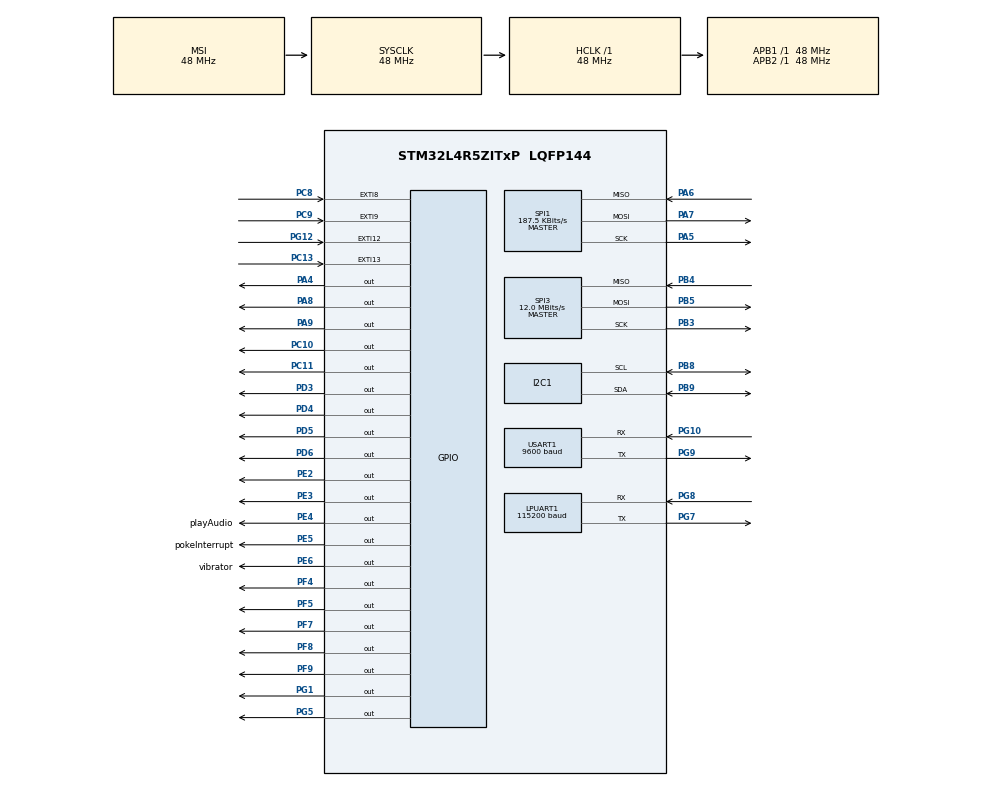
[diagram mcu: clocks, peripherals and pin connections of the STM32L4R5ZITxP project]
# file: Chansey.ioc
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I2C1.Timing=0x10805D88
LPUART1.BaudRate=115200
LPUART1.WordLength=UART_WORDLENGTH_8B
Mcu.Family=STM32L4
Mcu.Name=STM32L4R5ZITxP
Mcu.Package=LQFP144
NVIC.EXTI15_10_IRQn=true\:2\:0\:true\:false\:true\:true\:true\:true
NVIC.EXTI9_5_IRQn=true\:0\:0\:true\:false\:true\:true\:true\:true
NVIC.PriorityGroup=NVIC_PRIORITYGROUP_4
NVIC.TIM4_IRQn=true\:1\:0\:true\:false\:true\:true\:true\:true
PA0.Signal=S_TIM2_CH1
PA1.Signal=ADCx_IN6
PA13\ (JTMS/SWDIO).Signal=SYS_JTMS-SWDIO
PA14\ (JTCK/SWCLK).Signal=SYS_JTCK-SWCLK
PA3.Signal=ADCx_IN8
PA4.Signal=GPIO_Output
PA5.Mode=Full_Duplex_Master
PA5.Signal=SPI1_SCK
PA6.Mode=Full_Duplex_Master
PA6.Signal=SPI1_MISO
PA7.Mode=Full_Duplex_Master
PA7.Signal=SPI1_MOSI
PA8.Signal=GPIO_Output
PA9.Signal=GPIO_Output
PB0.Signal=S_TIM3_CH3
PB1.Signal=ADCx_IN16
PB10.Signal=S_TIM2_CH3
PB12.Signal=SAI2_FS_A
PB13.Signal=SAI2_SCK_A
PB14.Signal=S_TIM15_CH1
PB15.Signal=SAI2_SD_A
PB2.Signal=COMP1_INP
PB3\ (JTDO/TRACESWO).Mode=Full_Duplex_Master
PB3\ (JTDO/TRACESWO).Signal=SPI3_SCK
PB4\ (NJTRST).Mode=Full_Duplex_Master
PB4\ (NJTRST).Signal=SPI3_MISO
PB5.Mode=Full_Duplex_Master
PB5.Signal=SPI3_MOSI
PB6.Signal=COMP2_INP
PB8.Mode=I2C
PB8.Signal=I2C1_SCL
PB9.Mode=I2C
PB9.Signal=I2C1_SDA
PC0.Signal=ADCx_IN1
PC1.Signal=ADCx_IN2
PC10.Signal=GPIO_Output
PC11.Signal=GPIO_Output
PC13.Signal=GPXTI13
PC14-OSC32_IN\ (PC14).Signal=RCC_OSC32_IN
PC15-OSC32_OUT\ (PC15).Signal=RCC_OSC32_OUT
PC2.Signal=ADCx_IN3
PC3.Signal=ADCx_IN4
PC4.Signal=ADCx_IN13
PC5.Signal=ADCx_IN14
PC6.Signal=SAI2_MCLK_A
PC7.Signal=S_TIM3_CH2
PC8.GPIO_PuPd=GPIO_PULLDOWN
PC8.Signal=GPXTI8
PC9.GPIO_PuPd=GPIO_PULLDOWN
PC9.Signal=GPXTI9
PD0.Signal=CAN1_RX
PD14.Signal=S_TIM4_CH3
PD15.Signal=S_TIM4_CH4
PD2.Signal=SDMMC1_CMD
PD3.Signal=GPIO_Output
PD4.Signal=GPIO_Output
PD5.Signal=GPIO_Output
PD6.Signal=GPIO_Output
PD8.Signal=USART3_TX
PD9.Signal=USART3_RX
PE0.Signal=S_TIM4_ETR
PE10.Signal=TIM1_CH2N
PE11.Signal=S_TIM1_CH2
PE12.Signal=TIM1_CH3N
PE13.Signal=S_TIM1_CH3
PE14.Signal=TIM1_BKIN2
PE15.Signal=TIM1_BKIN
PE2.Signal=GPIO_Output
PE3.Signal=GPIO_Output
PE4.GPIO_Label=playAudio
PE4.Signal=GPIO_Output
PE5.GPIO_Label=pokeInterrupt
PE5.Signal=GPIO_Output
PE6.GPIO_Label=vibrator
PE6.Signal=GPIO_Output
PE7.Signal=S_TIM1_ETR
PE8.Signal=TIM1_CH1N
PE9.Signal=S_TIM1_CH1
PF0.Signal=I2C2_SDA
PF1.Signal=I2C2_SCL
PF2.Signal=I2C2_SMBA
PF4.Signal=GPIO_Output
PF5.Signal=GPIO_Output
PF7.Signal=GPIO_Output
PF8.Signal=GPIO_Output
PF9.Signal=GPIO_Output
PG1.Signal=GPIO_Output
PG10.Mode=Asynchronous
PG10.Signal=USART1_RX
PG12.Signal=GPXTI12
PG5.Signal=GPIO_Output
PG7.Mode=Asynchronous
PG7.Signal=LPUART1_TX
PG8.Mode=Asynchronous
PG8.Signal=LPUART1_RX
PG9.Mode=Asynchronous
PG9.Signal=USART1_TX
PH0-OSC_IN\ (PH0).Signal=RCC_OSC_IN
PH1-OSC_OUT\ (PH1).Signal=RCC_OSC_OUT
ProjectManager.HeapSize=0x200
ProjectManager.StackSize=0x400
ProjectManager.TargetToolchain=STM32CubeIDE
RCC.ADCFreq_Value=192000000
RCC.AHBFreq_Value=48000000
RCC.APB1Freq_Value=48000000
RCC.APB1TimFreq_Value=48000000
RCC.APB2Freq_Value=48000000
RCC.APB2TimFreq_Value=48000000
RCC.CortexFreq_Value=48000000
RCC.HCLKFreq_Value=48000000
RCC.HSE_VALUE=8000000
RCC.HSI48_VALUE=48000000
RCC.HSI_VALUE=16000000
RCC.LSE_VALUE=32768
RCC.MSIClockRange=RCC_MSIRANGE_11
RCC.MSI_VALUE=48000000
RCC.SYSCLKFreq_VALUE=48000000
RCC.USBFreq_Value=192000000
RCC.VCOOutputFreq_Value=384000000
SH.ADCx_IN1.0=ADC1_IN1
SH.ADCx_IN13.0=ADC1_IN13
SH.ADCx_IN14.0=ADC1_IN14
SH.ADCx_IN16.0=ADC1_IN16
SH.ADCx_IN2.0=ADC1_IN2
SH.ADCx_IN3.0=ADC1_IN3
SH.ADCx_IN4.0=ADC1_IN4
SH.ADCx_IN6.0=ADC1_IN6
SH.ADCx_IN8.0=ADC1_IN8
SH.S_TIM15_CH1.0=TIM15_CH1
SH.S_TIM1_CH1.0=TIM1_CH1
SH.S_TIM1_CH2.0=TIM1_CH2
SH.S_TIM1_CH3.0=TIM1_CH3
SH.S_TIM1_ETR.0=TIM1_ETR
SH.S_TIM2_CH1.0=TIM2_CH1
SH.S_TIM2_CH3.0=TIM2_CH3
SH.S_TIM3_CH2.0=TIM3_CH2
SH.S_TIM3_CH3.0=TIM3_CH3
SH.S_TIM4_CH3.0=TIM4_CH3
SH.S_TIM4_CH4.0=TIM4_CH4
SH.S_TIM4_ETR.0=TIM4_ETR
SPI1.BaudRatePrescaler=SPI_BAUDRATEPRESCALER_256
SPI1.CalculateBaudRate=187.5 KBits/s
SPI1.DataSize=SPI_DATASIZE_8BIT
SPI1.Direction=SPI_DIRECTION_2LINES
SPI1.Mode=SPI_MODE_MASTER
SPI1.VirtualType=VM_MASTER
SPI3.BaudRatePrescaler=SPI_BAUDRATEPRESCALER_4
SPI3.CalculateBaudRate=12.0 MBits/s
SPI3.DataSize=SPI_DATASIZE_8BIT
SPI3.Direction=SPI_DIRECTION_2LINES
SPI3.Mode=SPI_MODE_MASTER
SPI3.VirtualType=VM_MASTER
TIM4.Period=999
TIM4.Prescaler=47999
USART1.BaudRate=9600
USART1.VirtualMode-Asynchronous=VM_ASYNC
VP_TIM4_VS_ClockSourceINT.Mode=Internal
board=NUCLEO-L4R5ZI-P

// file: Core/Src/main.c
/* USER CODE BEGIN Header */
/**
  ******************************************************************************
  * @file           : main.c
  * @brief          : Main program body
  ******************************************************************************
  * @attention
  *
  * Copyright (c) 2025 STMicroelectronics.
  * All rights reserved.
  *
  * This software is licensed under terms that can be found in the LICENSE file
  * in the root directory of this software component.
  * If no LICENSE file comes with this software, it is provided AS-IS.
  *
  ******************************************************************************
  */
/* USER CODE END Header */
#include "main.h"

/* USER CODE BEGIN Includes */
#include "bodytemp.h"
#include "max30105.h"
#include "heart_rate_reader.h"
#include "heartRate.h"
#include "distance.h"
#include "rfid.h"
#include "temp_humid.h"
#include "stdio.h"
#include "motors.h"
#include "communicate.h"
#include "string.h"
#include "../../Drivers/VL53L0X/core/inc/vl53l0x_api.h"
#include "display.h"

/* USER CODE END Includes */

I2C_HandleTypeDef hi2c1;

UART_HandleTypeDef hlpuart1;
UART_HandleTypeDef huart1;

SPI_HandleTypeDef hspi1;
SPI_HandleTypeDef hspi3;

TIM_HandleTypeDef htim4;

/* USER CODE BEGIN PV */
enum States {
	IDLE,
	SCAN,
	HEART,
	TEMP,
	RESULT,
	PILLS,
	DONE
};

enum Users {
	DEFAULT,
	ABRAHAM, //1
	ALEC,    //2
	ANNA,    //3
	AVA,     //4
	JAMES,   //5
	JOHN,    //6
	JOSEPH,  //7
	JUNYI,   //8
	KRIS,    //9
	MATT,    //10
	NATALIE  //11
};

const char* UsersArr[] = {
    "",
	"ABRAHAM", //1
	"ALEC",    //2
	"ANNA",    //3
	"AVA",     //4
	"JAMES",   //5
	"JOHN",    //6
	"JOSEPH",  //7
	"JUNYI",   //8
	"KRIS",    //9
	"MATT",    //10
	"NATALIE"  //11
};

VL53L0X_RangingMeasurementData_t RangingData;
VL53L0X_Dev_t vl53l0x_c;
VL53L0X_DEV Dev = &vl53l0x_c;
volatile uint8_t restock = 0;

/* USER CODE END PV */

void SystemClock_Config(void);
static void MX_GPIO_Init(void);
static void MX_I2C1_Init(void);
static void MX_LPUART1_UART_Init(void);
static void MX_USART1_UART_Init(void);
static void MX_SPI1_Init(void);
static void MX_SPI3_Init(void);
static void MX_TIM4_Init(void);

/* USER CODE BEGIN 0 */
volatile uint16_t hour = 6;
volatile uint16_t minute = 9;
volatile uint8_t second = 0;
volatile uint32_t last_minute_press = 0;
volatile uint32_t last_hour_press = 0;
char timeStr[16];

float old_buffer[2] = {00.00,00.00};

/* USER CODE END 0 */

int main(void)
{

  /* MCU Configuration--------------------------------------------------------*/

  /* Reset of all peripherals, Initializes the Flash interface and the Systick. */
  HAL_Init();

  /* Configure the system clock */
  SystemClock_Config();

  /* Initialize all configured peripherals */
  MX_GPIO_Init();
  MX_I2C1_Init();
  MX_LPUART1_UART_Init();
  MX_USART1_UART_Init();
  MX_SPI1_Init();
  MX_SPI3_Init();
  MX_TIM4_Init();
  /* USER CODE BEGIN 2 */

  //Start timer
  HAL_TIM_Base_Start_IT(&htim4);

  enum States Chansey = IDLE;
  //IDLE STATE VARIABLES
  float buffer[2] = {0};
  uint8_t RFID_bool = 0;
  uint8_t distance_bool = 0;
  uint8_t counter = 0; //to not read temperature every single time we perform loop

  //RFID VARIABLES
  uint8_t str[MAX_LEN] = {0};
  uint8_t serNum[5] = {0};
  uint8_t R[16] = {0};
  uint8_t TrainerNum = DEFAULT;

  //HEART VARIABLES
   int heart_rate;

  //BODY TEMPERATURE VARIABLES
  float body_temperature;

  //PILL VARIABLES
  uint8_t pill_dispensed;

  // COMMUNICATION VARIABLES
	int sent = 0;

  //DISTANCE SENSOR VARIABLES
	uint32_t refSpadCount;
	uint8_t isApertureSpads;
	uint8_t VhvSettings;
	uint8_t PhaseCal;
	  Dev->I2cHandle = &hi2c1;
	  Dev->I2cDevAddr = 0x52;

	  // INITIALIZE DISPLAY
	  HAL_GPIO_WritePin(GPIOF, GPIO_PIN_4, GPIO_PIN_SET); // CS HIGH
	  DisplayBegin();
	  FillScreen(0xFFFF);
	  DrawChanseyCorner();

	  // INITIALIZE HR
	  heart_rate_init(); // ** may have to do everytime heart is called

	  // DISPLAY VARIABLES
	  char* Msg ;
	  char* rfidName;

	  uint32_t timeOut;  // time in ms since startup
	  uint8_t  scanBool = 0;
	  uint8_t  heartBool = 0;
	  uint8_t  tempBool = 0;
	  HAL_GPIO_WritePin(GPIOE, GPIO_PIN_5, 0);
	  HAL_GPIO_WritePin(GPIOE, GPIO_PIN_4, 0);
	  HAL_GPIO_WritePin(GPIOE, GPIO_PIN_6, 0);

  /* USER CODE END 2 */

  /* Infinite loop */
  /* USER CODE BEGIN WHILE */
	  //Chansey = TEMP;
  while (1)
  {
    /* USER CODE END WHILE */

    /* USER CODE BEGIN 3 */
	  	 HAL_Delay(10);
	  	HAL_GPIO_WritePin(GPIOE, GPIO_PIN_5, 0);

	  	 printf("Chansey State: %d\r\n", Chansey);
	  	printf("Time: %02u:%02u:%02u\r\n", hour, minute, second);

	  	//sprintf(timeStr, "%02u:%02u:%02u", hour, minute, second);
		if (hour > 12) {
			//pm
			sprintf(timeStr, "%02u:%02u PM", hour-12, minute);
		}
		else {
			// am
			sprintf(timeStr, "%02u:%02u AM", hour, minute);

		}

		TimeCornerText(timeStr);

		 switch(Chansey) {
		 	 case IDLE:
		 		//turn off the speaker
		 	  	HAL_GPIO_WritePin(GPIOE, GPIO_PIN_4, 0);
		 	  	HAL_GPIO_WritePin(GPIOE, GPIO_PIN_5, 0);
		 	  	HAL_GPIO_WritePin(GPIOE, GPIO_PIN_6, 0);

		 		 rfidName = "";
		 		 Msg = "";
			 	sent = 0;

		 		 RFID_bool = 0;
		 		 distance_bool = 0;
		 		 //temperature and humidity logic

		 		 memcpy(old_buffer, buffer, 2);
		 		//used to not read temperature/humidity all the time if not sensing
		 		 if(counter == 0){
		 			// get time variable

		 			if(temp_humid(buffer, &hi2c1)){
		 					printf("Temperature & Humidity: %.2f, %.2f\r\n", buffer[0], buffer[1]);
		 					IdleText(buffer[0], buffer[1]); // <-- Add this here
		 				}
		 				else{
		 					printf("Temp & Humidity not read: %.2f, %.2f\r\n", old_buffer[0], old_buffer[1]);
		 					IdleText(old_buffer[0], old_buffer[1]);
		 				}
		 				HAL_Delay(10);
		 		 }
		 		 //distance sensor logic
		 		  uint8_t buf[10] = {0xC0};
		 		  HAL_I2C_Master_Transmit(&hi2c1, VL_W_A, &buf[0], 1, 1000);
		 		  HAL_I2C_Master_Receive(&hi2c1, VL_R_A, &buf[2], 1, 1000);
		 		  SensorInit(  &refSpadCount,    &isApertureSpads,   & VhvSettings,   & PhaseCal);

		 		  VL53L0X_PerformSingleRangingMeasurement(Dev, &RangingData);
		 		  //printf("status: %u\n\r", RangingData.RangeStatus);

		 		  if (RangingData.RangeStatus==0) {
		 			  printf("Measured distance in mm: %u\n\r", RangingData.RangeMilliMeter);

		 			  if (RangingData.RangeMilliMeter == 0) {
		 				  SensorInit( &refSpadCount,    &isApertureSpads,    &VhvSettings,   & PhaseCal);
		 			  }
		 			  else{
		 				  if(RangingData.RangeMilliMeter < 200){
		 					  distance_bool = 1;
		 				  }
		 			  }
		 		  }

		 		 //RFID logic
		 		  uint8_t status = getSerNum(str);
		 		  memcpy(serNum, str, 5);

		 		 if(status == MI_OK){
		 			 RFID_bool = 1;
		 			 printf("here\n");
		 		 }

		 		 /*NEXT STATE LOGIC : if distance threshold met, move to SCAN, if RFID is scanned override and go to HEART.
		 		 (in cases where it recognizes both RFID and a person, it will not move to a redundant state)
		 		 */

		 		 if(distance_bool){
		 			HAL_GPIO_WritePin(GPIOE, GPIO_PIN_5, 0);
		 			HAL_GPIO_WritePin(GPIOE, GPIO_PIN_4, 1);
		 			 Chansey = SCAN;
				 		FillScreenExceptCorner(0xFFFF);

		 			 printf("To scan\r\n");
		 		 }
		 		 if(RFID_bool){
		 			HAL_GPIO_WritePin(GPIOE, GPIO_PIN_5, 0);
		 			HAL_GPIO_WritePin(GPIOE, GPIO_PIN_4, 1);
		 			uint16_t trainerID = returnTrainer(serNum);  // returns 0, 1, etc. to correspond to trainer num
		 			TrainerNum = trainerID;
		 			printf("%d %d %d %d %d\n\r", serNum[0], serNum[1], serNum[2], serNum[3], serNum[4]);
		 					 			printf("TRAINER ID: %d\n\r", trainerID);
		 					 			rfidName = UsersArr[trainerID];
		 					 			printf("%s\n\r", rfidName);
		 			 Chansey = HEART;
				 		FillScreenExceptCorner(0xFFFF);

		 			 printf("To heart\r\n");
		 		 }

		 		 //increase counter
		 		 counter++;
		 		 //reset counter if it goes over 255 range
		 		 if(counter > 30){
		 			 counter = 0;
		 		 }

		 		 break;
		 	 case SCAN:

		 		 if(scanBool == 0){
		 			scanBool = 1;
		 			timeOut = HAL_GetTick();
		 		 }else{
		 			uint32_t now = HAL_GetTick();
		 			 if(  (now - timeOut) > 30000){
		 				scanBool = 0;
		 				Chansey = IDLE;
		 				counter = 0;
		 				FillScreenExceptCorner(0xFFFF);
		 				break;
		 			 }
		 		 }

		 		 ScanText (); // SCAN state

	 			// rfid
		 		 uint8_t status1 = getSerNum(str);
		 		 memcpy(serNum, str, 5);

//		 		 //********************************************************************** REMOVE, FOR DEBUGGING PURPOSES
//		 		 Chansey = HEART;
//		 		 break;

		 		 if(status1 == MI_OK ){
		 			 RFID_bool = 1;
		 		 }

		 		 if(RFID_bool == 1){
		 			 Chansey = HEART;

		 			 scanBool = 0;

					FillScreenExceptCorner(0xFFFF);

		 			 //***//

		 			uint16_t trainerID = returnTrainer(serNum);  // returns 0, 1, etc. to correspond to trainer num
		 			TrainerNum = trainerID;
		 			printf("TRAINER ID: %d\n\r", trainerID);
		 			rfidName = UsersArr[trainerID];
		 			printf("%s\n\r", rfidName);
		 		 }

		 		 break;

		 	case HEART:

		 		printf("Inside heart state\r\n");

		 		if(heartBool == 0){
		 			heartBool = 1;
					timeOut = HAL_GetTick();
					HeartTempText(rfidName);

				 }else{
					uint32_t now = HAL_GetTick();
					 if(  (now - timeOut) > 30000){
						heartBool = 0;
						Chansey = IDLE;
						counter = 0;
						FillScreenExceptCorner(0xFFFF);
						break;
					 }
				 }

//				int h = heart_rate_task();
//
//				if(h != 0){
//				   printf("in hr\r\n");
//				   FillScreenExceptCorner(0xFFFF);
//				   MeasuringText();
					heart_rate = final_hr_result();
					HAL_GPIO_WritePin(GPIOE, GPIO_PIN_6, 0);
					if(heart_rate <= 40 || heart_rate >= 120){
						heart_rate = 0;

					}

					printf("final  result is = %d\r\n", heart_rate);

					heartBool = 0;
					Chansey = TEMP;
					FillScreenExceptCorner(0xFFFF);

		 		//get heart rate
		 		/*
		 		 * if heart rate > threshold then store and make heart_bool = 1
		 		 */

		 		break;
		 	case TEMP:

		 		if(tempBool == 0){
		 			tempBool = 1;
					timeOut = HAL_GetTick();
					TempText();
					HAL_Delay(5000);

				 }else{
					uint32_t now = HAL_GetTick();
					 if(  (now - timeOut) > 30000){
						 tempBool = 0;
						Chansey = IDLE;
						counter = 0;
						FillScreenExceptCorner(0xFFFF);
						break;
					 }
				 }

				if(temp_ready(&hi2c1)){
					HAL_GPIO_WritePin(GPIOE, GPIO_PIN_5, 1);
					body_temperature = getBodyTemp(&hi2c1);
					HAL_GPIO_WritePin(GPIOE, GPIO_PIN_5, 0);

					if (body_temperature <= 85 || body_temperature >= 110) {
						body_temperature = 0;
					}

					printf("body_temperature: %.2f\r\n", body_temperature);

					tempBool = 0;
					Chansey = RESULT;
			 		FillScreenExceptCorner(0xFFFF);

				}
				HAL_Delay(100);
		 		break;

		 	case RESULT:
		 		//set pill_dispenser for multivitamin; //set the variable
		 		//read rfid
		 		//block 4 == average heart rate
		 		//if body_temperature > 100.4
		 		//set pill dispenser for fever medication
		 		//if heart_rate is not within +- 10 beats of users average then -> "Abnormal heart rate reading, hospital visit recommended"
		 		HAL_GPIO_WritePin(GPIOE, GPIO_PIN_4, 0);
		 		pill_dispensed = 1;
		 		if(body_temperature > 100.4){
		 			pill_dispensed = 0;
		 		}
		 		// display time

		 		if (body_temperature == 0) {
		 			TempErrorText();
		 		}
		 		if (heart_rate == 0) {
		 			HeartErrorText();
		 		}

		 		ResultText(body_temperature, heart_rate);

		 		HAL_Delay(8000);

		 		Chansey = PILLS;
		 		FillScreenExceptCorner(0xFFFF);

		 		break;
		 	case PILLS:
		 		//read pill_dispenser variable
		 		//if plll_dispenser == 1 //
		 		//release multivitamin -> TURN LEFT MOTOR

		 		// display time
		 		if(pill_dispensed == 1){
		 			printf("Dispensing Multivitamin\r\n");

		 			Msg = "Multivitamin";
		 			PillsText(Msg);
			 	 	HAL_GPIO_EXTI_Callback(GPIO_PIN_13);
		 		}

		 		else{ //release fever meds
		 			Msg = "Fever";
					PillsText(Msg);
		 			HAL_GPIO_EXTI_Callback(GPIO_PIN_12);
		 		}

				Chansey = DONE;
		 		FillScreenExceptCorner(0xFFFF);

		 		break;
		 	case DONE:

		 		DoneText(rfidName); // DONE state

		 		if (sent == 0) {
		 			float data[4] = {(float)TrainerNum, (float)heart_rate, body_temperature, (float)pill_dispensed};
		 			sendToApp(&huart1, data);
		 			sent = 1;
		 		}

		 		HAL_Delay(8000);

		 		counter = 0;

		 		// if card is there, remove. otherwise, go to idle.
		 		if(getSerNum(str) != MI_OK){
		 			Chansey = IDLE;
			 		FillScreenExceptCorner(0xFFFF);

		 		}

		 		break;
		 }
  }
  /* USER CODE END 3 */
}

void SystemClock_Config(void)
{
  RCC_OscInitTypeDef RCC_OscInitStruct = {0};
  RCC_ClkInitTypeDef RCC_ClkInitStruct = {0};

  /** Configure the main internal regulator output voltage
  */
  if (HAL_PWREx_ControlVoltageScaling(PWR_REGULATOR_VOLTAGE_SCALE1) != HAL_OK)
  {
    Error_Handler();
  }

  /** Initializes the RCC Oscillators according to the specified parameters
  * in the RCC_OscInitTypeDef structure.
  */
  RCC_OscInitStruct.OscillatorType = RCC_OSCILLATORTYPE_MSI;
  RCC_OscInitStruct.MSIState = RCC_MSI_ON;
  RCC_OscInitStruct.MSICalibrationValue = 0;
  RCC_OscInitStruct.MSIClockRange = RCC_MSIRANGE_11;
  RCC_OscInitStruct.PLL.PLLState = RCC_PLL_NONE;
  if (HAL_RCC_OscConfig(&RCC_OscInitStruct) != HAL_OK)
  {
    Error_Handler();
  }

  /** Initializes the CPU, AHB and APB buses clocks
  */
  RCC_ClkInitStruct.ClockType = RCC_CLOCKTYPE_HCLK|RCC_CLOCKTYPE_SYSCLK
                              |RCC_CLOCKTYPE_PCLK1|RCC_CLOCKTYPE_PCLK2;
  RCC_ClkInitStruct.SYSCLKSource = RCC_SYSCLKSOURCE_MSI;
  RCC_ClkInitStruct.AHBCLKDivider = RCC_SYSCLK_DIV1;
  RCC_ClkInitStruct.APB1CLKDivider = RCC_HCLK_DIV1;
  RCC_ClkInitStruct.APB2CLKDivider = RCC_HCLK_DIV1;

  if (HAL_RCC_ClockConfig(&RCC_ClkInitStruct, FLASH_LATENCY_2) != HAL_OK)
  {
    Error_Handler();
  }
}

static void MX_I2C1_Init(void)
{

  hi2c1.Instance = I2C1;
  hi2c1.Init.Timing = 0x10805D88;
  hi2c1.Init.OwnAddress1 = 0;
  hi2c1.Init.AddressingMode = I2C_ADDRESSINGMODE_7BIT;
  hi2c1.Init.DualAddressMode = I2C_DUALADDRESS_DISABLE;
  hi2c1.Init.OwnAddress2 = 0;
  hi2c1.Init.OwnAddress2Masks = I2C_OA2_NOMASK;
  hi2c1.Init.GeneralCallMode = I2C_GENERALCALL_DISABLE;
  hi2c1.Init.NoStretchMode = I2C_NOSTRETCH_DISABLE;
  if (HAL_I2C_Init(&hi2c1) != HAL_OK)
  {
    Error_Handler();
  }

  /** Configure Analogue filter
  */
  if (HAL_I2CEx_ConfigAnalogFilter(&hi2c1, I2C_ANALOGFILTER_ENABLE) != HAL_OK)
  {
    Error_Handler();
  }

  /** Configure Digital filter
  */
  if (HAL_I2CEx_ConfigDigitalFilter(&hi2c1, 0) != HAL_OK)
  {
    Error_Handler();
  }

}

static void MX_LPUART1_UART_Init(void)
{

  hlpuart1.Instance = LPUART1;
  hlpuart1.Init.BaudRate = 115200;
  hlpuart1.Init.WordLength = UART_WORDLENGTH_8B;
  hlpuart1.Init.StopBits = UART_STOPBITS_1;
  hlpuart1.Init.Parity = UART_PARITY_NONE;
  hlpuart1.Init.Mode = UART_MODE_TX_RX;
  hlpuart1.Init.HwFlowCtl = UART_HWCONTROL_NONE;
  hlpuart1.Init.OneBitSampling = UART_ONE_BIT_SAMPLE_DISABLE;
  hlpuart1.Init.ClockPrescaler = UART_PRESCALER_DIV1;
  hlpuart1.AdvancedInit.AdvFeatureInit = UART_ADVFEATURE_NO_INIT;
  hlpuart1.FifoMode = UART_FIFOMODE_DISABLE;
  if (HAL_UART_Init(&hlpuart1) != HAL_OK)
  {
    Error_Handler();
  }
  if (HAL_UARTEx_SetTxFifoThreshold(&hlpuart1, UART_TXFIFO_THRESHOLD_1_8) != HAL_OK)
  {
    Error_Handler();
  }
  if (HAL_UARTEx_SetRxFifoThreshold(&hlpuart1, UART_RXFIFO_THRESHOLD_1_8) != HAL_OK)
  {
    Error_Handler();
  }
  if (HAL_UARTEx_DisableFifoMode(&hlpuart1) != HAL_OK)
  {
    Error_Handler();
  }

}

static void MX_USART1_UART_Init(void)
{

  huart1.Instance = USART1;
  huart1.Init.BaudRate = 9600;
  huart1.Init.WordLength = UART_WORDLENGTH_8B;
  huart1.Init.StopBits = UART_STOPBITS_1;
  huart1.Init.Parity = UART_PARITY_NONE;
  huart1.Init.Mode = UART_MODE_TX_RX;
  huart1.Init.HwFlowCtl = UART_HWCONTROL_NONE;
  huart1.Init.OverSampling = UART_OVERSAMPLING_16;
  huart1.Init.OneBitSampling = UART_ONE_BIT_SAMPLE_DISABLE;
  huart1.Init.ClockPrescaler = UART_PRESCALER_DIV1;
  huart1.AdvancedInit.AdvFeatureInit = UART_ADVFEATURE_NO_INIT;
  if (HAL_UART_Init(&huart1) != HAL_OK)
  {
    Error_Handler();
  }
  if (HAL_UARTEx_SetTxFifoThreshold(&huart1, UART_TXFIFO_THRESHOLD_1_8) != HAL_OK)
  {
    Error_Handler();
  }
  if (HAL_UARTEx_SetRxFifoThreshold(&huart1, UART_RXFIFO_THRESHOLD_1_8) != HAL_OK)
  {
    Error_Handler();
  }
  if (HAL_UARTEx_DisableFifoMode(&huart1) != HAL_OK)
  {
    Error_Handler();
  }

}

static void MX_SPI1_Init(void)
{

  /* SPI1 parameter configuration*/
  hspi1.Instance = SPI1;
  hspi1.Init.Mode = SPI_MODE_MASTER;
  hspi1.Init.Direction = SPI_DIRECTION_2LINES;
  hspi1.Init.DataSize = SPI_DATASIZE_8BIT;
  hspi1.Init.CLKPolarity = SPI_POLARITY_LOW;
  hspi1.Init.CLKPhase = SPI_PHASE_1EDGE;
  hspi1.Init.NSS = SPI_NSS_SOFT;
  hspi1.Init.BaudRatePrescaler = SPI_BAUDRATEPRESCALER_256;
  hspi1.Init.FirstBit = SPI_FIRSTBIT_MSB;
  hspi1.Init.TIMode = SPI_TIMODE_DISABLE;
  hspi1.Init.CRCCalculation = SPI_CRCCALCULATION_DISABLE;
  hspi1.Init.CRCPolynomial = 7;
  hspi1.Init.CRCLength = SPI_CRC_LENGTH_DATASIZE;
  hspi1.Init.NSSPMode = SPI_NSS_PULSE_ENABLE;
  if (HAL_SPI_Init(&hspi1) != HAL_OK)
  {
    Error_Handler();
  }

}

static void MX_SPI3_Init(void)
{

  /* SPI3 parameter configuration*/
  hspi3.Instance = SPI3;
  hspi3.Init.Mode = SPI_MODE_MASTER;
  hspi3.Init.Direction = SPI_DIRECTION_2LINES;
  hspi3.Init.DataSize = SPI_DATASIZE_8BIT;
  hspi3.Init.CLKPolarity = SPI_POLARITY_LOW;
  hspi3.Init.CLKPhase = SPI_PHASE_1EDGE;
  hspi3.Init.NSS = SPI_NSS_SOFT;
  hspi3.Init.BaudRatePrescaler = SPI_BAUDRATEPRESCALER_4;
  hspi3.Init.FirstBit = SPI_FIRSTBIT_MSB;
  hspi3.Init.TIMode = SPI_TIMODE_DISABLE;
  hspi3.Init.CRCCalculation = SPI_CRCCALCULATION_DISABLE;
  hspi3.Init.CRCPolynomial = 7;
  hspi3.Init.CRCLength = SPI_CRC_LENGTH_DATASIZE;
  hspi3.Init.NSSPMode = SPI_NSS_PULSE_ENABLE;
  if (HAL_SPI_Init(&hspi3) != HAL_OK)
  {
    Error_Handler();
  }

}

static void MX_TIM4_Init(void)
{

  TIM_ClockConfigTypeDef sClockSourceConfig = {0};
  TIM_MasterConfigTypeDef sMasterConfig = {0};

  htim4.Instance = TIM4;
  htim4.Init.Prescaler = 47999;
  htim4.Init.CounterMode = TIM_COUNTERMODE_UP;
  htim4.Init.Period = 999;
  htim4.Init.ClockDivision = TIM_CLOCKDIVISION_DIV1;
  htim4.Init.AutoReloadPreload = TIM_AUTORELOAD_PRELOAD_DISABLE;
  if (HAL_TIM_Base_Init(&htim4) != HAL_OK)
  {
    Error_Handler();
  }
  sClockSourceConfig.ClockSource = TIM_CLOCKSOURCE_INTERNAL;
  if (HAL_TIM_ConfigClockSource(&htim4, &sClockSourceConfig) != HAL_OK)
  {
    Error_Handler();
  }
  sMasterConfig.MasterOutputTrigger = TIM_TRGO_RESET;
  sMasterConfig.MasterSlaveMode = TIM_MASTERSLAVEMODE_DISABLE;
  if (HAL_TIMEx_MasterConfigSynchronization(&htim4, &sMasterConfig) != HAL_OK)
  {
    Error_Handler();
  }

}

static void MX_GPIO_Init(void)
{
  GPIO_InitTypeDef GPIO_InitStruct = {0};

  /* GPIO Ports Clock Enable */
  __HAL_RCC_GPIOE_CLK_ENABLE();
  __HAL_RCC_GPIOC_CLK_ENABLE();
  __HAL_RCC_GPIOF_CLK_ENABLE();
  __HAL_RCC_GPIOH_CLK_ENABLE();
  __HAL_RCC_GPIOA_CLK_ENABLE();
  __HAL_RCC_GPIOB_CLK_ENABLE();
  __HAL_RCC_GPIOG_CLK_ENABLE();
  __HAL_RCC_GPIOD_CLK_ENABLE();
  HAL_PWREx_EnableVddIO2();

  /*Configure GPIO pin Output Level */
  HAL_GPIO_WritePin(GPIOE, GPIO_PIN_2|GPIO_PIN_3|playAudio_Pin|pokeInterrupt_Pin
                          |vibrator_Pin, GPIO_PIN_RESET);

  /*Configure GPIO pin Output Level */
  HAL_GPIO_WritePin(GPIOF, GPIO_PIN_4|GPIO_PIN_5|GPIO_PIN_7|GPIO_PIN_8
                          |GPIO_PIN_9, GPIO_PIN_RESET);

  /*Configure GPIO pin Output Level */
  HAL_GPIO_WritePin(GPIOA, GPIO_PIN_4|GPIO_PIN_8|GPIO_PIN_9, GPIO_PIN_RESET);

  /*Configure GPIO pin Output Level */
  HAL_GPIO_WritePin(GPIOG, GPIO_PIN_1|GPIO_PIN_5, GPIO_PIN_RESET);

  /*Configure GPIO pin Output Level */
  HAL_GPIO_WritePin(GPIOC, GPIO_PIN_10|GPIO_PIN_11, GPIO_PIN_RESET);

  /*Configure GPIO pin Output Level */
  HAL_GPIO_WritePin(GPIOD, GPIO_PIN_3|GPIO_PIN_4|GPIO_PIN_5|GPIO_PIN_6, GPIO_PIN_RESET);

  /*Configure GPIO pins : PE2 PE3 playAudio_Pin pokeInterrupt_Pin
                           vibrator_Pin */
  GPIO_InitStruct.Pin = GPIO_PIN_2|GPIO_PIN_3|playAudio_Pin|pokeInterrupt_Pin
                          |vibrator_Pin;
  GPIO_InitStruct.Mode = GPIO_MODE_OUTPUT_PP;
  GPIO_InitStruct.Pull = GPIO_NOPULL;
  GPIO_InitStruct.Speed = GPIO_SPEED_FREQ_LOW;
  HAL_GPIO_Init(GPIOE, &GPIO_InitStruct);

  /*Configure GPIO pin : PC13 */
  GPIO_InitStruct.Pin = GPIO_PIN_13;
  GPIO_InitStruct.Mode = GPIO_MODE_IT_RISING;
  GPIO_InitStruct.Pull = GPIO_NOPULL;
  HAL_GPIO_Init(GPIOC, &GPIO_InitStruct);

  /*Configure GPIO pins : PF0 PF1 PF2 */
  GPIO_InitStruct.Pin = GPIO_PIN_0|GPIO_PIN_1|GPIO_PIN_2;
  GPIO_InitStruct.Mode = GPIO_MODE_AF_OD;
  GPIO_InitStruct.Pull = GPIO_NOPULL;
  GPIO_InitStruct.Speed = GPIO_SPEED_FREQ_VERY_HIGH;
  GPIO_InitStruct.Alternate = GPIO_AF4_I2C2;
  HAL_GPIO_Init(GPIOF, &GPIO_InitStruct);

  /*Configure GPIO pins : PF4 PF5 PF7 PF8
                           PF9 */
  GPIO_InitStruct.Pin = GPIO_PIN_4|GPIO_PIN_5|GPIO_PIN_7|GPIO_PIN_8
                          |GPIO_PIN_9;
  GPIO_InitStruct.Mode = GPIO_MODE_OUTPUT_PP;
  GPIO_InitStruct.Pull = GPIO_NOPULL;
  GPIO_InitStruct.Speed = GPIO_SPEED_FREQ_LOW;
  HAL_GPIO_Init(GPIOF, &GPIO_InitStruct);

  /*Configure GPIO pins : PC0 PC1 PC2 PC3
                           PC4 PC5 */
  GPIO_InitStruct.Pin = GPIO_PIN_0|GPIO_PIN_1|GPIO_PIN_2|GPIO_PIN_3
                          |GPIO_PIN_4|GPIO_PIN_5;
  GPIO_InitStruct.Mode = GPIO_MODE_ANALOG_ADC_CONTROL;
  GPIO_InitStruct.Pull = GPIO_NOPULL;
  HAL_GPIO_Init(GPIOC, &GPIO_InitStruct);

  /*Configure GPIO pin : PA0 */
  GPIO_InitStruct.Pin = GPIO_PIN_0;
  GPIO_InitStruct.Mode = GPIO_MODE_AF_PP;
  GPIO_InitStruct.Pull = GPIO_NOPULL;
  GPIO_InitStruct.Speed = GPIO_SPEED_FREQ_LOW;
  GPIO_InitStruct.Alternate = GPIO_AF1_TIM2;
  HAL_GPIO_Init(GPIOA, &GPIO_InitStruct);

  /*Configure GPIO pins : PA1 PA3 */
  GPIO_InitStruct.Pin = GPIO_PIN_1|GPIO_PIN_3;
  GPIO_InitStruct.Mode = GPIO_MODE_ANALOG_ADC_CONTROL;
  GPIO_InitStruct.Pull = GPIO_NOPULL;
  HAL_GPIO_Init(GPIOA, &GPIO_InitStruct);

  /*Configure GPIO pins : PA4 PA8 PA9 */
  GPIO_InitStruct.Pin = GPIO_PIN_4|GPIO_PIN_8|GPIO_PIN_9;
  GPIO_InitStruct.Mode = GPIO_MODE_OUTPUT_PP;
  GPIO_InitStruct.Pull = GPIO_NOPULL;
  GPIO_InitStruct.Speed = GPIO_SPEED_FREQ_LOW;
  HAL_GPIO_Init(GPIOA, &GPIO_InitStruct);

  /*Configure GPIO pin : PB0 */
  GPIO_InitStruct.Pin = GPIO_PIN_0;
  GPIO_InitStruct.Mode = GPIO_MODE_AF_PP;
  GPIO_InitStruct.Pull = GPIO_NOPULL;
  GPIO_InitStruct.Speed = GPIO_SPEED_FREQ_LOW;
  GPIO_InitStruct.Alternate = GPIO_AF2_TIM3;
  HAL_GPIO_Init(GPIOB, &GPIO_InitStruct);

  /*Configure GPIO pin : PB1 */
  GPIO_InitStruct.Pin = GPIO_PIN_1;
  GPIO_InitStruct.Mode = GPIO_MODE_ANALOG_ADC_CONTROL;
  GPIO_InitStruct.Pull = GPIO_NOPULL;
  HAL_GPIO_Init(GPIOB, &GPIO_InitStruct);

  /*Configure GPIO pins : PB2 PB6 */
  GPIO_InitStruct.Pin = GPIO_PIN_2|GPIO_PIN_6;
  GPIO_InitStruct.Mode = GPIO_MODE_ANALOG;
  GPIO_InitStruct.Pull = GPIO_NOPULL;
  HAL_GPIO_Init(GPIOB, &GPIO_InitStruct);

  /*Configure GPIO pins : PG1 PG5 */
  GPIO_InitStruct.Pin = GPIO_PIN_1|GPIO_PIN_5;
  GPIO_InitStruct.Mode = GPIO_MODE_OUTPUT_PP;
  GPIO_InitStruct.Pull = GPIO_NOPULL;
  GPIO_InitStruct.Speed = GPIO_SPEED_FREQ_LOW;
  HAL_GPIO_Init(GPIOG, &GPIO_InitStruct);

  /*Configure GPIO pins : PE7 PE8 PE9 PE10
                           PE11 PE12 PE13 */
  GPIO_InitStruct.Pin = GPIO_PIN_7|GPIO_PIN_8|GPIO_PIN_9|GPIO_PIN_10
                          |GPIO_PIN_11|GPIO_PIN_12|GPIO_PIN_13;
  GPIO_InitStruct.Mode = GPIO_MODE_AF_PP;
  GPIO_InitStruct.Pull = GPIO_NOPULL;
  GPIO_InitStruct.Speed = GPIO_SPEED_FREQ_LOW;
  GPIO_InitStruct.Alternate = GPIO_AF1_TIM1;
  HAL_GPIO_Init(GPIOE, &GPIO_InitStruct);

  /*Configure GPIO pins : PE14 PE15 */
  GPIO_InitStruct.Pin = GPIO_PIN_14|GPIO_PIN_15;
  GPIO_InitStruct.Mode = GPIO_MODE_AF_PP;
  GPIO_InitStruct.Pull = GPIO_NOPULL;
  GPIO_InitStruct.Speed = GPIO_SPEED_FREQ_LOW;
  GPIO_InitStruct.Alternate = GPIO_AF3_TIM1_COMP1;
  HAL_GPIO_Init(GPIOE, &GPIO_InitStruct);

  /*Configure GPIO pin : PB10 */
  GPIO_InitStruct.Pin = GPIO_PIN_10;
  GPIO_InitStruct.Mode = GPIO_MODE_AF_PP;
  GPIO_InitStruct.Pull = GPIO_NOPULL;
  GPIO_InitStruct.Speed = GPIO_SPEED_FREQ_LOW;
  GPIO_InitStruct.Alternate = GPIO_AF1_TIM2;
  HAL_GPIO_Init(GPIOB, &GPIO_InitStruct);

  /*Configure GPIO pins : PB12 PB13 PB15 */
  GPIO_InitStruct.Pin = GPIO_PIN_12|GPIO_PIN_13|GPIO_PIN_15;
  GPIO_InitStruct.Mode = GPIO_MODE_AF_PP;
  GPIO_InitStruct.Pull = GPIO_NOPULL;
  GPIO_InitStruct.Speed = GPIO_SPEED_FREQ_LOW;
  GPIO_InitStruct.Alternate = GPIO_AF13_SAI2;
  HAL_GPIO_Init(GPIOB, &GPIO_InitStruct);

  /*Configure GPIO pin : PB14 */
  GPIO_InitStruct.Pin = GPIO_PIN_14;
  GPIO_InitStruct.Mode = GPIO_MODE_AF_PP;
  GPIO_InitStruct.Pull = GPIO_NOPULL;
  GPIO_InitStruct.Speed = GPIO_SPEED_FREQ_LOW;
  GPIO_InitStruct.Alternate = GPIO_AF14_TIM15;
  HAL_GPIO_Init(GPIOB, &GPIO_InitStruct);

  /*Configure GPIO pins : PD8 PD9 */
  GPIO_InitStruct.Pin = GPIO_PIN_8|GPIO_PIN_9;
  GPIO_InitStruct.Mode = GPIO_MODE_AF_PP;
  GPIO_InitStruct.Pull = GPIO_NOPULL;
  GPIO_InitStruct.Speed = GPIO_SPEED_FREQ_VERY_HIGH;
  GPIO_InitStruct.Alternate = GPIO_AF7_USART3;
  HAL_GPIO_Init(GPIOD, &GPIO_InitStruct);

  /*Configure GPIO pin : PC6 */
  GPIO_InitStruct.Pin = GPIO_PIN_6;
  GPIO_InitStruct.Mode = GPIO_MODE_AF_PP;
  GPIO_InitStruct.Pull = GPIO_NOPULL;
  GPIO_InitStruct.Speed = GPIO_SPEED_FREQ_LOW;
  GPIO_InitStruct.Alternate = GPIO_AF13_SAI2;
  HAL_GPIO_Init(GPIOC, &GPIO_InitStruct);

  /*Configure GPIO pin : PC7 */
  GPIO_InitStruct.Pin = GPIO_PIN_7;
  GPIO_InitStruct.Mode = GPIO_MODE_AF_PP;
  GPIO_InitStruct.Pull = GPIO_NOPULL;
  GPIO_InitStruct.Speed = GPIO_SPEED_FREQ_LOW;
  GPIO_InitStruct.Alternate = GPIO_AF2_TIM3;
  HAL_GPIO_Init(GPIOC, &GPIO_InitStruct);

  /*Configure GPIO pins : PC8 PC9 */
  GPIO_InitStruct.Pin = GPIO_PIN_8|GPIO_PIN_9;
  GPIO_InitStruct.Mode = GPIO_MODE_IT_RISING;
  GPIO_InitStruct.Pull = GPIO_PULLDOWN;
  HAL_GPIO_Init(GPIOC, &GPIO_InitStruct);

  /*Configure GPIO pins : PC10 PC11 */
  GPIO_InitStruct.Pin = GPIO_PIN_10|GPIO_PIN_11;
  GPIO_InitStruct.Mode = GPIO_MODE_OUTPUT_PP;
  GPIO_InitStruct.Pull = GPIO_NOPULL;
  GPIO_InitStruct.Speed = GPIO_SPEED_FREQ_LOW;
  HAL_GPIO_Init(GPIOC, &GPIO_InitStruct);

  /*Configure GPIO pin : PD0 */
  GPIO_InitStruct.Pin = GPIO_PIN_0;
  GPIO_InitStruct.Mode = GPIO_MODE_AF_PP;
  GPIO_InitStruct.Pull = GPIO_NOPULL;
  GPIO_InitStruct.Speed = GPIO_SPEED_FREQ_VERY_HIGH;
  GPIO_InitStruct.Alternate = GPIO_AF9_CAN1;
  HAL_GPIO_Init(GPIOD, &GPIO_InitStruct);

  /*Configure GPIO pin : PD2 */
  GPIO_InitStruct.Pin = GPIO_PIN_2;
  GPIO_InitStruct.Mode = GPIO_MODE_AF_PP;
  GPIO_InitStruct.Pull = GPIO_NOPULL;
  GPIO_InitStruct.Speed = GPIO_SPEED_FREQ_VERY_HIGH;
  GPIO_InitStruct.Alternate = GPIO_AF12_SDMMC1;
  HAL_GPIO_Init(GPIOD, &GPIO_InitStruct);

  /*Configure GPIO pins : PD3 PD4 PD5 PD6 */
  GPIO_InitStruct.Pin = GPIO_PIN_3|GPIO_PIN_4|GPIO_PIN_5|GPIO_PIN_6;
  GPIO_InitStruct.Mode = GPIO_MODE_OUTPUT_PP;
  GPIO_InitStruct.Pull = GPIO_NOPULL;
  GPIO_InitStruct.Speed = GPIO_SPEED_FREQ_LOW;
  HAL_GPIO_Init(GPIOD, &GPIO_InitStruct);

  /*Configure GPIO pin : PG12 */
  GPIO_InitStruct.Pin = GPIO_PIN_12;
  GPIO_InitStruct.Mode = GPIO_MODE_IT_RISING;
  GPIO_InitStruct.Pull = GPIO_NOPULL;
  HAL_GPIO_Init(GPIOG, &GPIO_InitStruct);

  /* EXTI interrupt init*/
  HAL_NVIC_SetPriority(EXTI9_5_IRQn, 0, 0);
  HAL_NVIC_EnableIRQ(EXTI9_5_IRQn);

  HAL_NVIC_SetPriority(EXTI15_10_IRQn, 2, 0);
  HAL_NVIC_EnableIRQ(EXTI15_10_IRQn);

}

/* USER CODE BEGIN 4 */
#ifdef __GNUC__
#define PUTCHAR_PROTOTYPE int __io_putchar(int ch)
#else
  #define PUTCHAR_PROTOTYPE int fputc(int ch, FILE *f)
#endif /* __GNUC__ */
PUTCHAR_PROTOTYPE
{
  HAL_UART_Transmit(&hlpuart1, (uint8_t *)&ch, 1, 0xFFFF);
  return ch;
}

/* USER CODE END 4 */

void Error_Handler(void)
{
  __disable_irq();
  while (1)
  {
  }
}
